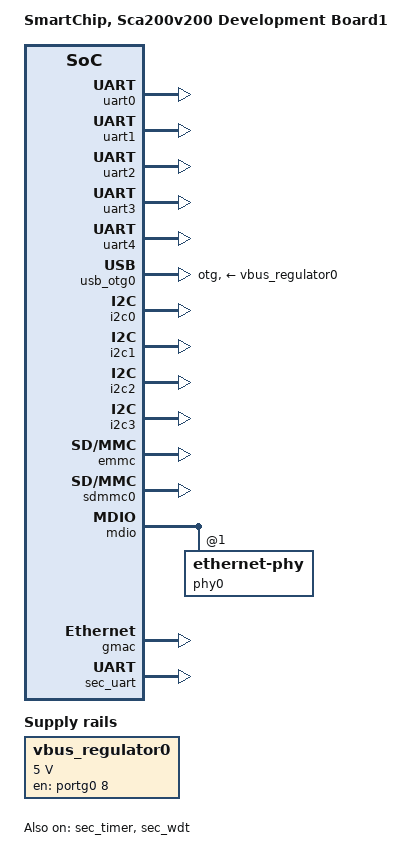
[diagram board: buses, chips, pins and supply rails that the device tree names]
/*
 * Copyright 2015 SmartChip Co., Ltd.
 */

/dts-v1/;
#include "smartchip-sca200v200.dtsi"
#include "smartchip-sca200v200-memory.dtsi"

/ {
	model = "SmartChip, Sca200v200 Development Board1";
};

&uart0 {
	status = "okay";
};

&uart1 {
	status = "okay";
};

&uart2 {
	status = "okay";
};

&uart3 {
	status = "okay";
};

&uart4 {
	status = "okay";
};

&vbus_regulator0 {
	compatible = "regulator-fixed";
	regulator-name = "usb_otg0_vbus";
	regulator-min-microvolt = <5000000>;
	regulator-max-microvolt = <5000000>;
	gpio = <&portg0 8 GPIO_ACTIVE_HIGH>;
	enable-active-high;
};

&usb_otg0 {
	dr_mode = "otg";
	vbus-supply = <&vbus_regulator0>;
	status = "okay";
};

&wdt0 {
	status = "disabled";
};

&rtc0 {
	status = "disabled";
};

&pwm0 {
	status = "disabled";
};

&pwm1 {
	status = "disabled";
};

&tzc{
	status = "disabled";
};

&spim0 {
	status = "disabled";
};

&spim1 {
	status = "disabled";
};

&spis0 {
	status = "disabled";
};

&spis1 {
	status = "disabled";
};

&i2c0 {
	status = "okay";

	pmic0: da9062@58 {
		status = "disable";
		compatible = "dlg,da9062";
		reg = <0x58>;
		interrupt-parent = <&porta0>;
		interrupts = <0 IRQ_TYPE_LEVEL_LOW>;
		interrupt-controller;
		//gpios = <&portc1 6 GPIO_ACTIVE_LOW>;

		rtc {
			compatible = "dlg,da9062-rtc";
		};

		watchdog {
			compatible = "dlg,da9062-watchdog";
		};

		thermal {
			compatible = "dlg,da9062-thermal";
			polling-delay-passive = <3000>;
		};

		regulators {
			DA9062_BUCK1: buck1 {
				regulator-name = "BUCK1";
				regulator-min-microvolt = <300000>;
				regulator-max-microvolt = <1570000>;
				regulator-min-microamp = <500000>;
				regulator-max-microamp = <2000000>;
				regulator-boot-on;
			};
			DA9062_BUCK2: buck2 {
				regulator-name = "BUCK2";
				regulator-min-microvolt = <300000>;
				regulator-max-microvolt = <1570000>;
				regulator-min-microamp = <500000>;
				regulator-max-microamp = <2000000>;
				regulator-boot-on;
			};
			DA9062_LDO3: ldo3 {
				regulator-name = "LDO_3";
				regulator-min-microvolt = <1800000>;
				regulator-max-microvolt = <3300000>;
				regulator-boot-on;
			};
		};
	};
};

&i2c1 {
	status = "okay";
};

&i2c2 {
	status = "okay";
};

&i2c3 {
	status = "okay";
};

&i2c4 {
	status = "disabled";
};

&vqmmc_sdhci {
	gpios = <&portc0 25 GPIO_ACTIVE_HIGH>;
};

&emmc {
	/delete-property/voltage-ranges;
	/delete-property/no-1-8-v;
	vqmmc-supply = <&vqmmc_sdhci>;
	mmc-hs200-1_8v;
	status = "okay";
};

&vqmmc_sdmmc0 {
	gpios = <&porta0 14 GPIO_ACTIVE_HIGH>;
	gpios-states = <1>;
	states = <3300000 1
		  1800000 0>;
};

&sdmmc0 {
	vqmmc-supply = <&vqmmc_sdmmc0>;
	status = "okay";
};

&sdmmc1 {
	/delete-property/sd-uhs-sdr12;
	/delete-property/sd-uhs-sdr25;
	/delete-property/sd-uhs-sdr50;
	/delete-property/sd-uhs-sdr104;
//	status = "okay";
};

&mdio {
	status = "okay";

	phy0: ethernet-phy@1 {
		status = "okay";
	};
};

&gmac {
	status = "okay";
};

&qspi {
	status = "disabled";
};

&sec_uart {
	status = "okay";
};

&sec_timer {
	status = "okay";
};

&sec_wdt {
	status = "okay";
};
